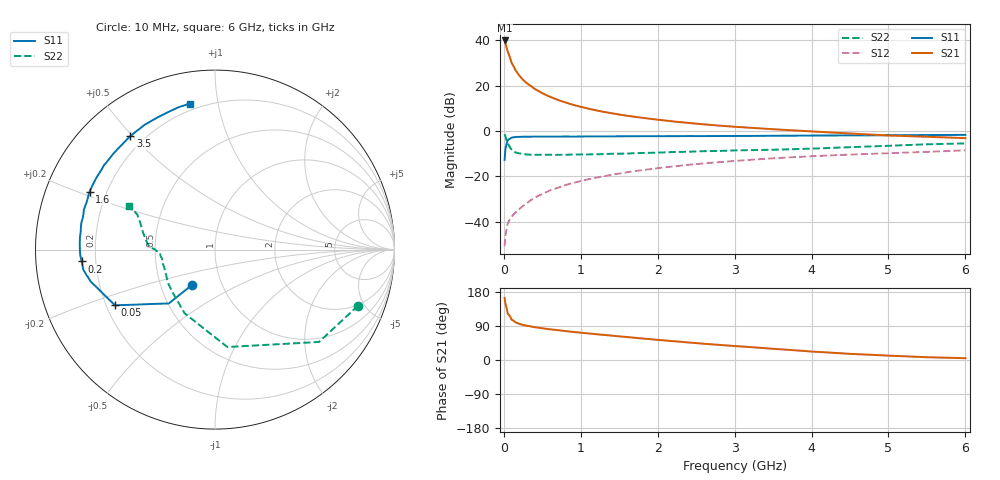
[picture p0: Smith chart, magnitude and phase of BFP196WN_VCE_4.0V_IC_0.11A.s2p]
! (c) 2017  Infineon Technologies AG, Munich
! Infineon Technologies  Discrete & RF Semiconductors
! BFP196WN
! VCE =  4.0 V,  IC = 0.11 A
! Common Emitter S-Parameters:  Jan 2017
# GHz  S  MA  R  50
!  f  S11  S21  S12  S22
! GHz  MAG  ANG  MAG  ANG  MAG  ANG  MAG  ANG
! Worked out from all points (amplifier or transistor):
!   77 points, 10 MHz to 6 GHz, reference 50 ohm
!   highest |S21| = 40.0 dB at 10 MHz (marker M1)
!   |S21| within 3 dB of that: start of sweep to 34.72 MHz
!   unconditionally stable (mu >= 1): 411.1 MHz to 2.618 GHz
!   at 130 MHz: K = 0.74, MSG = 32.5 dB, |S12| = -36.7 dB
!   at 2.2 GHz: K = 1.02, MAG = 9.1 dB, |S12| = -15.6 dB
!   at 6 GHz: K = 0.92, MSG = 2.7 dB, |S12| = -8.5 dB
!   S11 on the Smith chart (normalised r, x): 10 MHz: 0.72, -0.30; 50 MHz: 0.24, -0.25; 200 MHz: 0.15, -0.04; 1.6 GHz: 0.14, +0.22; 3.5 GHz: 0.15, +0.49; 6 GHz: 0.16, +0.83
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0.01  0.2327 -122.9  99.69 163.8  0.0029 81.4  0.8562 -21.4
0.02  0.3951 -130.6  87.09 148.5  0.0048 70.6  0.7749 -41.6
0.05  0.6379 -150.9  57.03 122.4  0.0092 52.7  0.5473 -82.7
0.1  0.7146 -165.5  32.2 106.5  0.0129 55.4  0.3936 -115.4
0.15  0.7426 -171.3  22.2 99.6  0.0159 57.7  0.3395 -132.7
0.2  0.7454 -174.9  16.82 95.5  0.0191 64.1  0.3228 -143.1
0.25  0.7511 -177.5  13.51 92.5  0.0225 66.2  0.3121 -149.3
0.3  0.7527 -179.5  11.31 90.3  0.0259 68.5  0.304 -154.6
0.4  0.7544 177.3  8.532 86.5  0.0339 71.3  0.2999 -160.3
0.5  0.7555 174.8  6.828 83.7  0.0409 72.2  0.3006 -164.5
0.6  0.7547 172.5  5.706 81.0  0.0492 72.5  0.3014 -167.5
0.7  0.7572 170.7  4.887 78.8  0.056 72.9  0.2993 -169.6
0.9  0.7577 166.5  3.798 74.1  0.0717 72.5  0.304 -172.3
1.1  0.7634 163.2  3.123 70.1  0.0867 71.8  0.3065 -174.7
1.3  0.7623 159.8  2.654 66.3  0.1008 70.7  0.3113 -175.7
1.6  0.7698 155.2  2.181 60.6  0.1236 68.4  0.3193 -178.1
2.1  0.7724 147.2  1.708 51.5  0.1591 64.5  0.3403 179.4
3.1  0.7808 132.4  1.216 35.5  0.2258 55.4  0.3777 174.9
3.5  0.7892 126.7  1.101 29.5  0.2512 52.1  0.3878 172.2
4.1  0.7986 118.2  0.963 21.2  0.2837 46.5  0.4163 165.6
5.1  0.8114 107.6  0.79 10.7  0.3296 38.5  0.4815 155.4
6  0.8252 99.7  0.699 4.7  0.3763 32.5  0.5346 153.1
